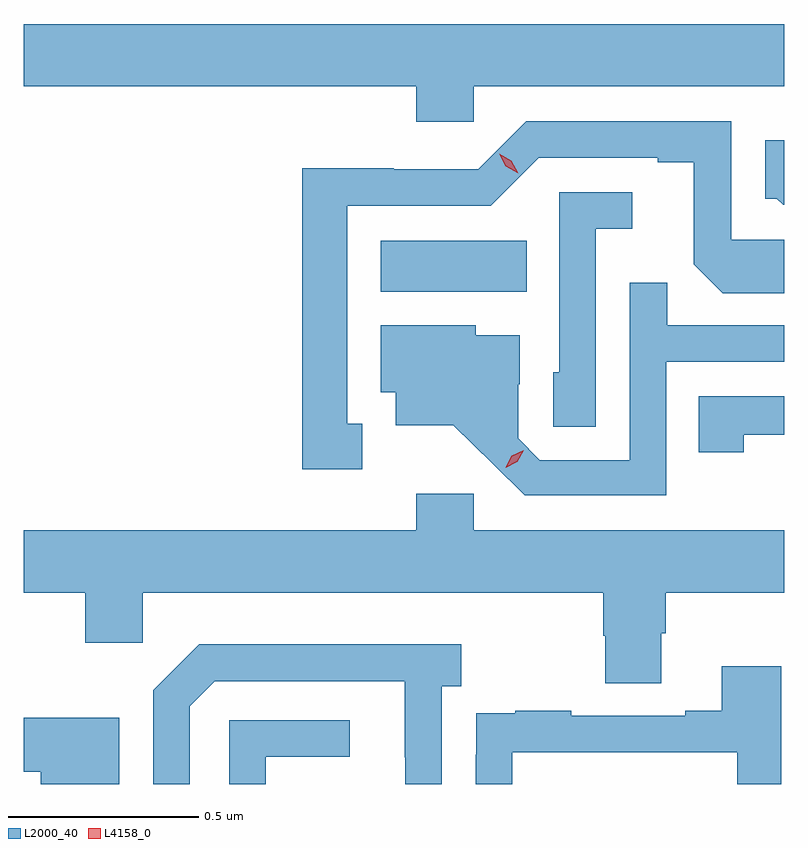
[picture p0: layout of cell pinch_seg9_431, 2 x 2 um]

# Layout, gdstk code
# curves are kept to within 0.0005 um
import gdstk
lib = gdstk.Library(unit=1e-6, precision=1e-09)
def R(c, l, rs):  # rectangles x0, y0, x1, y1
    for r in rs: c.add(gdstk.rectangle(r[:2], r[2:], *l))
def P(c, l, *ps):  # polygons
    for p in ps: c.add(gdstk.Polygon(p, *l))
L2000_40 = (2000, 40)
L4158_0 = (4158, 0)

pinch_seg9_431 = lib.new_cell('pinch_seg9_431')
R(pinch_seg9_431, L2000_40, [(233.054,1223.852,233.438,1223.986)])
P(pinch_seg9_431, L2000_40, [(233.298,1224.392),(234.115,1224.392),(234.115,1224.556),(232.115,1224.556),(232.115,1224.392),(233.147,1224.392),(233.147,1224.299),(233.298,1224.299)],
  [(233.005,1223.505),(232.966,1223.505),(232.966,1224.078),(233.343,1224.078),(233.469,1224.204),(233.783,1224.204),(233.783,1224.192),(233.877,1224.192),(233.877,1223.924),(233.953,1223.848),(234.115,1223.848),(234.115,1223.988),(233.976,1223.988),(233.976,1224.3),(233.436,1224.3),(233.31,1224.174),(233.088,1224.174),(233.088,1224.176),(232.848,1224.176),(232.848,1223.385),(233.005,1223.385)],
  [(234.115,1224.25),(234.065,1224.25),(234.065,1224.096),(234.096,1224.096),(234.112,1224.08),(234.115,1224.08)],
  [(233.619,1224.017),(233.716,1224.017),(233.716,1224.114),(233.523,1224.114),(233.523,1223.64),(233.508,1223.64),(233.508,1223.497),(233.619,1223.497)],
  [(233.805,1223.667),(234.115,1223.667),(234.115,1223.763),(233.807,1223.763),(233.807,1223.876),(233.709,1223.876),(233.709,1223.409),(233.472,1223.409),(233.415,1223.466),(233.415,1223.608),(233.419,1223.608),(233.419,1223.737),(233.304,1223.737),(233.304,1223.764),(233.054,1223.764),(233.054,1223.588),(233.093,1223.588),(233.093,1223.501),(233.245,1223.501),(233.432,1223.316),(233.805,1223.316)],
  [(234.009,1223.476),(234.115,1223.476),(234.115,1223.577),(233.89,1223.577),(233.89,1223.43),(234.009,1223.43)],
  [(233.791,1222.954),(233.804,1222.954),(233.804,1223.06),(234.115,1223.06),(234.115,1223.224),(233.298,1223.224),(233.298,1223.32),(233.147,1223.32),(233.147,1223.224),(232.115,1223.224),(232.115,1223.06),(232.277,1223.06),(232.277,1222.929),(232.428,1222.929),(232.428,1223.06),(233.639,1223.06),(233.639,1222.947),(233.644,1222.947),(233.644,1222.822),(233.791,1222.822)],
  [(232.551,1222.761),(232.617,1222.827),(233.117,1222.827),(233.117,1222.627),(233.118,1222.627),(233.118,1222.557),(233.214,1222.557),(233.214,1222.814),(233.266,1222.814),(233.266,1222.924),(232.576,1222.924),(232.455,1222.803),(232.455,1222.557),(232.551,1222.557)],
  [(233.4,1222.641),(233.991,1222.641),(233.991,1222.557),(234.107,1222.557),(234.107,1222.867),(233.951,1222.867),(233.951,1222.75),(233.855,1222.75),(233.855,1222.737),(233.555,1222.737),(233.555,1222.75),(233.407,1222.75),(233.407,1222.743),(233.305,1222.743),(233.305,1222.634),(233.304,1222.634),(233.304,1222.557),(233.4,1222.557)],
  [(232.366,1222.731),(232.115,1222.731),(232.115,1222.589),(232.159,1222.589),(232.159,1222.557),(232.366,1222.557)],
  [(232.752,1222.629),(232.972,1222.629),(232.972,1222.725),(232.656,1222.725),(232.656,1222.557),(232.752,1222.557)])
P(pinch_seg9_431, L4158_0, [(233.382,1223.389),(233.382,1223.39),(233.399,1223.42),(233.43,1223.435),(233.43,1223.435),(233.43,1223.435),(233.413,1223.405),(233.382,1223.389)],
  [(233.415,1224.164),(233.383,1224.182),(233.365,1224.215),(233.365,1224.215),(233.365,1224.215),(233.397,1224.196),(233.415,1224.164),(233.415,1224.164)])

lib.write_gds('pinch_seg9_431.gds')
